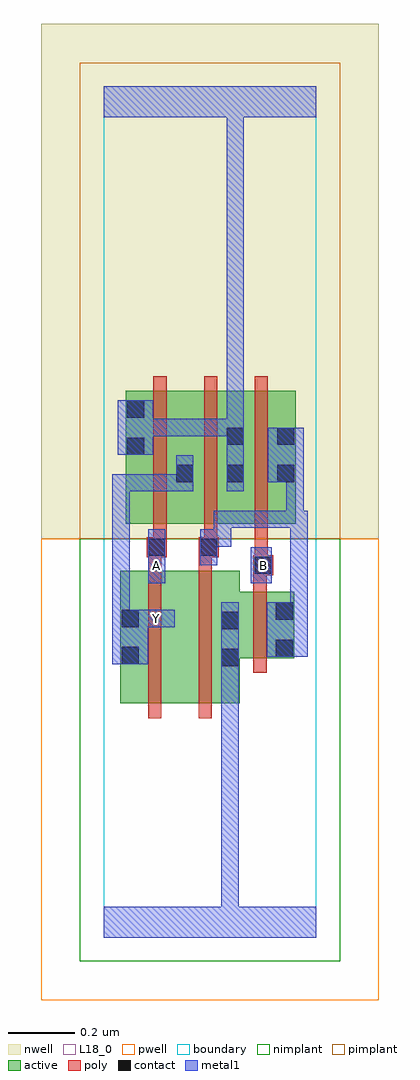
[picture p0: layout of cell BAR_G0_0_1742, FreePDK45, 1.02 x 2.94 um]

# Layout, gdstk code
import gdstk
lib = gdstk.Library(unit=1e-6, precision=1e-09)
def R(c, l, rs):  # rectangles x0, y0, x1, y1
    for r in rs: c.add(gdstk.rectangle(r[:2], r[2:], *l))
def A(c, l, x, y, w, h, nx, ny, dx, dy):  # array of equal rectangles
    R(c, l, [(x+i*dx, y+j*dy, x+i*dx+w, y+j*dy+h) for i in range(nx) for j in range(ny)])
active = (1, 0)
pwell = (2, 0)
nwell = (3, 0)
nimplant = (4, 0)
pimplant = (5, 0)
poly = (9, 0)
contact = (10, 0)
metal1 = (11, 0)
L18_0 = (18, 0)
boundary = (235, 0)

bar_g0_0_1742 = lib.new_cell('BAR_G0_0_1742')
R(bar_g0_0_1742, active, [(0.05,0.704,0.23,1.104), (0.23,0.704,0.41,1.104), (0.35,0.704,0.41,0.984), (0.05,0.756,0.11,1.104), (0.35,0.84,0.574,1.04), (0.514,0.84,0.574,1.04), (0.066,1.244,0.126,1.644), (0.066,1.244,0.274,1.644), (0.214,1.244,0.426,1.644), (0.366,1.244,0.426,1.644), (0.366,1.244,0.578,1.644), (0.518,1.244,0.578,1.644), (0.214,1.366,0.274,1.644)])
R(bar_g0_0_1742, pwell, [(-0.188,-0.188,0.828,1.2)])
R(bar_g0_0_1742, nwell, [(-0.188,1.2,0.828,2.748)])
R(bar_g0_0_1742, nimplant, [(-0.072,-0.072,0.712,1.2)])
R(bar_g0_0_1742, pimplant, [(-0.072,1.2,0.712,2.632)])
A(bar_g0_0_1742, poly, 0.15, 1.2, 0.04, 0.488, 3, 1, 0.152, 0)
R(bar_g0_0_1742, poly, [(0.134,0.66,0.174,1.148), (0.286,0.66,0.326,1.148), (0.45,0.796,0.49,1.084), (0.45,1.044,0.49,1.13), (0.45,1.09,0.51,1.15), (0.134,1.108,0.174,1.184), (0.286,1.108,0.326,1.184), (0.454,1.11,0.494,1.24), (0.454,1.11,0.494,1.15), (0.454,1.11,0.494,1.15), (0.13,1.144,0.19,1.204), (0.134,1.144,0.174,1.184), (0.134,1.144,0.174,1.184), (0.286,1.144,0.326,1.184), (0.286,1.144,0.326,1.184), (0.286,1.144,0.346,1.204), (0.15,1.164,0.19,1.24), (0.302,1.164,0.342,1.24)])
A(bar_g0_0_1742, contact, 0.218, 1.37, 0.052, 0.052, 3, 1, 0.152, 0)
R(bar_g0_0_1742, contact, [(0.354,0.816,0.406,0.868), (0.054,0.822,0.106,0.874), (0.518,0.844,0.57,0.896), (0.354,0.928,0.406,0.98), (0.054,0.934,0.106,0.986), (0.518,0.956,0.57,1.008), (0.454,1.094,0.506,1.146), (0.134,1.148,0.186,1.2), (0.29,1.148,0.342,1.2), (0.07,1.452,0.122,1.504), (0.37,1.482,0.422,1.534), (0.522,1.482,0.574,1.534), (0.07,1.564,0.122,1.616)])
R(bar_g0_0_1742, metal1, [(0,0,0.64,0.092), (0.354,0.04,0.406,0.092), (0.354,0.04,0.406,0.092), (0.354,0.04,0.406,0.092), (0.354,0.04,0.406,0.092), (0.354,0.04,0.406,0.092), (0.354,0.04,0.406,0.092), (0.354,0.04,0.406,0.092), (0.354,0.04,0.406,0.092), (0.354,0.04,0.406,0.092), (0.354,0.04,0.406,0.092), (0.354,0.04,0.406,0.84), (0.354,0.788,0.406,0.84), (0.354,0.788,0.406,0.84), (0.354,0.788,0.406,1.008), (0.026,0.822,0.134,0.986), (0.49,0.844,0.614,1.008), (0.026,0.934,0.078,1.394), (0.026,0.934,0.214,0.986), (0.082,0.934,0.134,0.986), (0.562,0.956,0.614,1.284), (0.562,0.956,0.614,1.008), (0.562,0.956,0.614,1.008), (0.134,1.066,0.186,1.228), (0.442,1.066,0.506,1.174), (0.29,1.12,0.342,1.228), (0.29,1.176,0.384,1.228), (0.332,1.176,0.384,1.284), (0.332,1.232,0.602,1.284), (0.55,1.232,0.602,1.422), (0.55,1.232,0.602,1.284), (0.55,1.232,0.602,1.284), (0.55,1.232,0.614,1.284), (0.026,1.342,0.078,1.394), (0.026,1.342,0.078,1.394), (0.026,1.342,0.078,1.394), (0.026,1.342,0.078,1.394), (0.026,1.342,0.078,1.394), (0.026,1.342,0.27,1.394), (0.218,1.342,0.27,1.45), (0.37,1.342,0.422,1.562), (0.494,1.37,0.602,1.534), (0.042,1.452,0.15,1.616), (0.098,1.508,0.15,1.56), (0.098,1.508,0.15,1.56), (0.098,1.508,0.26,1.56), (0.208,1.508,0.26,1.56), (0.208,1.508,0.26,1.56), (0.208,1.508,0.26,1.56), (0.208,1.508,0.422,1.56), (0.37,1.51,0.422,1.562), (0.37,1.51,0.422,1.562), (0.37,1.51,0.422,1.562), (0.37,1.51,0.422,1.562), (0.37,1.51,0.422,1.562), (0.37,1.51,0.422,1.562), (0.37,1.51,0.422,1.562), (0.37,1.51,0.422,1.562), (0.37,1.51,0.422,1.562), (0.37,1.51,0.422,1.562), (0.37,1.51,0.422,2.52), (0,2.468,0.64,2.56), (0.37,2.468,0.422,2.52), (0.37,2.468,0.422,2.52), (0.37,2.468,0.422,2.52), (0.37,2.468,0.422,2.52), (0.37,2.468,0.422,2.52), (0.37,2.468,0.422,2.52)])
R(bar_g0_0_1742, L18_0, [(0,0,0.64,0.092), (0.354,0.04,0.406,0.092), (0.354,0.04,0.406,0.092), (0.354,0.04,0.406,0.092), (0.354,0.04,0.406,0.092), (0.354,0.04,0.406,0.092), (0.354,0.04,0.406,0.092), (0.354,0.04,0.406,0.092), (0.354,0.04,0.406,0.092), (0.354,0.04,0.406,0.092), (0.354,0.04,0.406,0.092), (0.354,0.04,0.406,0.84), (0.354,0.788,0.406,0.84), (0.354,0.788,0.406,0.84), (0.354,0.788,0.406,1.008), (0.026,0.822,0.134,0.986), (0.026,0.934,0.214,0.986), (0.026,0.934,0.078,1.394), (0.082,0.934,0.134,0.986), (0.134,0.934,0.186,0.986), (0.134,1.066,0.186,1.228), (0.442,1.066,0.506,1.174), (0.134,1.094,0.186,1.146), (0.454,1.094,0.506,1.146), (0.026,1.342,0.078,1.394), (0.026,1.342,0.078,1.394), (0.026,1.342,0.078,1.394), (0.026,1.342,0.078,1.394), (0.026,1.342,0.078,1.394), (0.026,1.342,0.27,1.394), (0.218,1.342,0.27,1.45), (0.37,1.342,0.422,1.562), (0.042,1.452,0.15,1.616), (0.098,1.508,0.15,1.56), (0.098,1.508,0.15,1.56), (0.098,1.508,0.26,1.56), (0.208,1.508,0.26,1.56), (0.208,1.508,0.26,1.56), (0.208,1.508,0.26,1.56), (0.208,1.508,0.422,1.56), (0.37,1.51,0.422,1.562), (0.37,1.51,0.422,1.562), (0.37,1.51,0.422,1.562), (0.37,1.51,0.422,1.562), (0.37,1.51,0.422,1.562), (0.37,1.51,0.422,1.562), (0.37,1.51,0.422,1.562), (0.37,1.51,0.422,1.562), (0.37,1.51,0.422,1.562), (0.37,1.51,0.422,1.562), (0.37,1.51,0.422,2.52), (0,2.468,0.64,2.56), (0.37,2.468,0.422,2.52), (0.37,2.468,0.422,2.52), (0.37,2.468,0.422,2.52), (0.37,2.468,0.422,2.52), (0.37,2.468,0.422,2.52), (0.37,2.468,0.422,2.52)])
R(bar_g0_0_1742, boundary, [(0,0,0.64,2.56)])
bar_g0_0_1742.add(gdstk.Label('A', (0.16,1.12), layer=11, texttype=0))
bar_g0_0_1742.add(gdstk.Label('B', (0.48,1.12), layer=11, texttype=0))
bar_g0_0_1742.add(gdstk.Label('Y', (0.16,0.96), layer=11, texttype=0))

lib.write_gds('BAR_G0_0_1742.gds')
